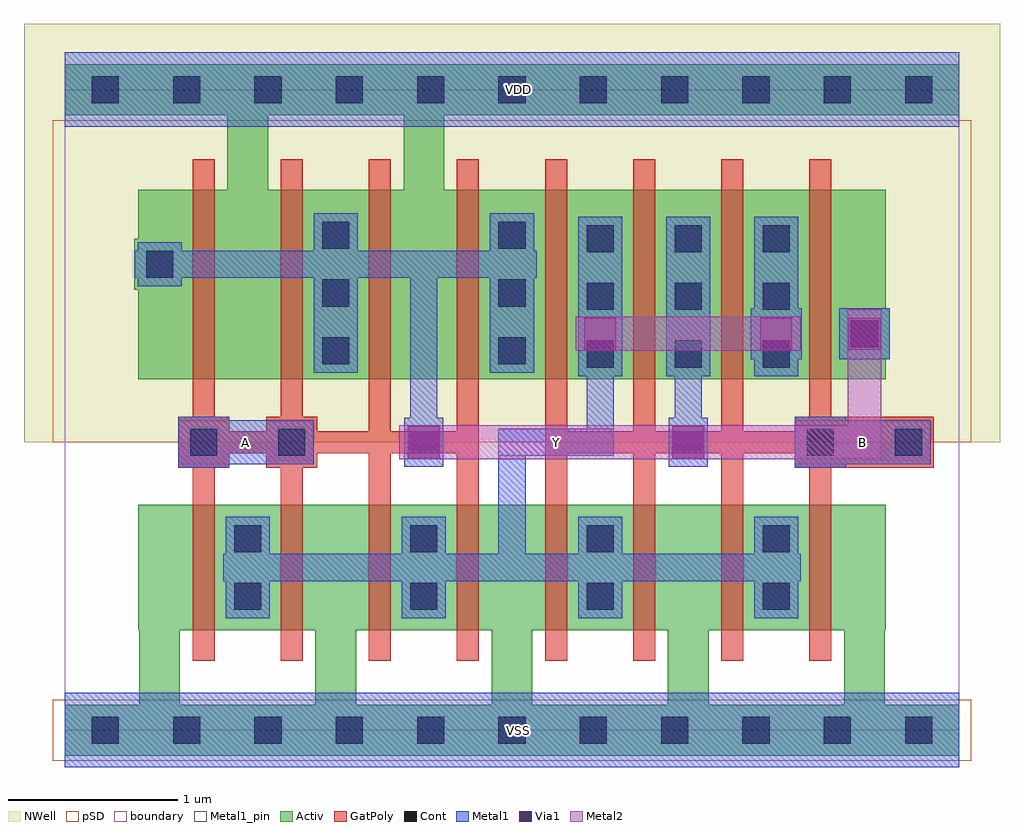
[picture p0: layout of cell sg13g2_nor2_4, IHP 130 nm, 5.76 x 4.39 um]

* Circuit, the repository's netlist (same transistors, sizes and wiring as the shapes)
.SUBCKT sg13g2_nor2_4 Y A B VDD VSS
*.PININFO A:I B:I Y:O VDD:B VSS:B
MN0 Y A VSS VSS sg13_lv_nmos w=2.96u l=130.00n ng=4
MN1 Y B VSS VSS sg13_lv_nmos w=2.96u l=130.00n ng=4
MP0 net1 A VDD VDD sg13_lv_pmos w=4.48u l=130.00n ng=4
MP1 Y B net1 VDD sg13_lv_pmos w=4.48u l=130.00n ng=4
.ENDS

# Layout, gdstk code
import gdstk
lib = gdstk.Library(unit=1e-6, precision=1e-09)
def R(c, l, rs):  # rectangles x0, y0, x1, y1
    for r in rs: c.add(gdstk.rectangle(r[:2], r[2:], *l))
def A(c, l, x, y, w, h, nx, ny, dx, dy):  # array of equal rectangles
    R(c, l, [(x+i*dx, y+j*dy, x+i*dx+w, y+j*dy+h) for i in range(nx) for j in range(ny)])
def P(c, l, *ps):  # polygons
    for p in ps: c.add(gdstk.Polygon(p, *l))
Activ = (1, 0)
GatPoly = (5, 0)
Cont = (6, 0)
Metal1 = (8, 0)
Metal1_pin = (8, 2)
Metal2 = (10, 0)
pSD = (14, 0)
Via1 = (19, 0)
NWell = (31, 0)
boundary = (189, 4)

sg13g2_nor2_4 = lib.new_cell('sg13g2_nor2_4')
P(sg13g2_nor2_4, Activ, [(0.44,0.15),(0,0.15),(0,-0.15),(5.28,-0.15),(5.28,0.15),(0.44,0.15),(0.68,0.15),(0.68,0.59),(1.48,0.59),(1.48,0.15),(1.72,0.15),(1.72,0.59),(2.52,0.59),(2.52,0.15),(2.76,0.15),(2.76,0.59),(3.56,0.59),(3.56,0.15),(3.8,0.15),(3.8,0.59),(4.6,0.59),(4.6,0.15),(4.84,0.15),(4.84,0.59),(4.845,0.59),(4.845,1.33),(0.435,1.33),(0.435,0.59),(0.44,0.59)],
  [(0.96,3.19),(1.2,3.19),(1.2,3.63),(2,3.63),(2,3.19),(2.24,3.19),(2.24,3.63),(5.28,3.63),(5.28,3.93),(0,3.93),(0,3.63),(0.96,3.63),(0.96,3.19),(0.435,3.19),(0.435,2.9),(0.41,2.9),(0.41,2.6),(0.435,2.6),(0.435,2.07),(4.845,2.07),(4.845,2.19),(4.87,2.19),(4.87,2.49),(4.845,2.49),(4.845,3.19)])
P(sg13g2_nor2_4, GatPoly, [(0.67,1.55),(0.755,1.55),(0.755,0.41),(0.885,0.41),(0.885,1.55),(0.97,1.55),(0.97,1.635),(1.19,1.635),(1.19,1.55),(1.275,1.55),(1.275,0.41),(1.405,0.41),(1.405,1.55),(1.49,1.55),(1.49,1.635),(1.795,1.635),(1.795,0.41),(1.925,0.41),(1.925,1.635),(2.315,1.635),(2.315,0.41),(2.445,0.41),(2.445,3.37),(2.315,3.37),(2.315,1.765),(1.925,1.765),(1.925,3.37),(1.795,3.37),(1.795,1.765),(1.49,1.765),(1.49,1.85),(1.405,1.85),(1.405,3.37),(1.275,3.37),(1.275,1.85),(1.19,1.85),(1.19,1.765),(0.97,1.765),(0.97,1.85),(0.885,1.85),(0.885,3.37),(0.755,3.37),(0.755,1.85),(0.67,1.85)],
  [(2.835,0.41),(2.965,0.41),(2.965,1.635),(3.355,1.635),(3.355,0.41),(3.485,0.41),(3.485,1.635),(3.875,1.635),(3.875,0.41),(4.005,0.41),(4.005,1.635),(4.31,1.635),(4.31,1.55),(4.395,1.55),(4.395,0.41),(4.525,0.41),(4.525,1.55),(5.13,1.55),(5.13,1.85),(4.525,1.85),(4.525,3.37),(4.395,3.37),(4.395,1.85),(4.31,1.85),(4.31,1.765),(4.005,1.765),(4.005,3.37),(3.875,3.37),(3.875,1.765),(3.485,1.765),(3.485,3.37),(3.355,3.37),(3.355,1.765),(2.965,1.765),(2.965,3.37),(2.835,3.37)])
A(sg13g2_nor2_4, Cont, 0.16, -0.08, 0.16, 0.16, 11, 2, 0.48, 3.78)
A(sg13g2_nor2_4, Cont, 1, 0.71, 0.16, 0.16, 4, 2, 1.04, 0.34)
A(sg13g2_nor2_4, Cont, 3.08, 2.14, 0.16, 0.16, 3, 3, 0.52, 0.34)
A(sg13g2_nor2_4, Cont, 1.52, 2.16, 0.16, 0.16, 1, 3, 0, 0.34)
A(sg13g2_nor2_4, Cont, 2.56, 2.16, 0.16, 0.16, 1, 3, 0, 0.34)
R(sg13g2_nor2_4, Cont, [(0.74,1.62,0.9,1.78), (1.26,1.62,1.42,1.78), (4.38,1.62,4.54,1.78), (4.9,1.62,5.06,1.78), (4.64,2.26,4.8,2.42), (0.48,2.67,0.64,2.83)])
R(sg13g2_nor2_4, Metal1, [(0,-0.22,5.28,0.22), (4.57,2.19,4.87,2.49), (0,3.56,5.28,4)])
P(sg13g2_nor2_4, Metal1, [(0.415,2.67),(0.43,2.67),(0.43,2.62),(0.69,2.62),(0.69,2.67),(1.47,2.67),(1.47,2.11),(1.73,2.11),(1.73,2.67),(2.04,2.67),(2.04,1.845),(2.005,1.845),(2.005,1.555),(2.235,1.555),(2.235,1.845),(2.2,1.845),(2.2,2.67),(2.51,2.67),(2.51,2.11),(2.77,2.11),(2.77,2.67),(2.785,2.67),(2.785,2.83),(2.77,2.83),(2.77,3.05),(2.51,3.05),(2.51,2.83),(1.73,2.83),(1.73,3.05),(1.47,3.05),(1.47,2.83),(0.69,2.83),(0.69,2.88),(0.43,2.88),(0.43,2.83),(0.415,2.83)],
  [(0.67,1.55),(0.97,1.55),(0.97,1.57),(1.47,1.57),(1.47,1.83),(0.97,1.83),(0.97,1.85),(0.67,1.85)],
  [(0.935,0.88),(0.95,0.88),(0.95,0.66),(1.21,0.66),(1.21,0.88),(1.99,0.88),(1.99,0.66),(2.25,0.66),(2.25,0.88),(3.03,0.88),(3.03,0.66),(3.29,0.66),(3.29,0.88),(4.07,0.88),(4.07,0.66),(4.33,0.66),(4.33,0.88),(4.345,0.88),(4.345,1.04),(4.33,1.04),(4.33,1.26),(4.07,1.26),(4.07,1.04),(3.29,1.04),(3.29,1.26),(3.03,1.26),(3.03,1.04),(2.72,1.04),(2.72,1.62),(3.24,1.62),(3.24,2.09),(3.29,2.09),(3.29,3.03),(3.03,3.03),(3.03,2.09),(3.08,2.09),(3.08,1.78),(2.56,1.78),(2.56,1.04),(2.25,1.04),(2.25,1.26),(1.99,1.26),(1.99,1.04),(1.21,1.04),(1.21,1.26),(0.95,1.26),(0.95,1.04),(0.935,1.04)],
  [(3.55,2.09),(3.6,2.09),(3.6,1.845),(3.565,1.845),(3.565,1.555),(3.795,1.555),(3.795,1.845),(3.76,1.845),(3.76,2.09),(3.81,2.09),(3.81,3.03),(3.55,3.03)],
  [(4.05,2.19),(4.07,2.19),(4.07,2.09),(4.33,2.09),(4.33,2.19),(4.35,2.19),(4.35,2.49),(4.33,2.49),(4.33,3.03),(4.07,3.03),(4.07,2.49),(4.05,2.49)],
  [(4.31,1.55),(4.61,1.55),(4.61,1.57),(5.11,1.57),(5.11,1.83),(4.61,1.83),(4.61,1.85),(4.31,1.85)])
R(sg13g2_nor2_4, Metal1_pin, [(0,-0.22,5.28,0.22), (0.67,1.57,1.47,1.83), (4.31,1.57,5.11,1.83), (2.56,1.62,3.24,1.78), (0,3.56,5.28,4)])
R(sg13g2_nor2_4, Metal2, [(3.015,2.24,4.345,2.44)])
P(sg13g2_nor2_4, Metal2, [(1.975,1.6),(4.82,1.6),(4.82,2.485),(4.62,2.485),(4.62,1.8),(1.975,1.8)])
R(sg13g2_nor2_4, pSD, [(-0.07,-0.18,5.35,0.18), (-0.07,1.7,5.35,3.6)])
R(sg13g2_nor2_4, Via1, [(2.025,1.605,2.215,1.795), (3.585,1.605,3.775,1.795), (3.065,2.245,3.255,2.435), (4.105,2.245,4.295,2.435), (4.625,2.245,4.815,2.435)])
R(sg13g2_nor2_4, NWell, [(-0.24,1.7,5.52,4.17)])
R(sg13g2_nor2_4, boundary, [(0,0,5.28,3.78)])
sg13g2_nor2_4.add(gdstk.Label('A', (1.07,1.7), layer=8, texttype=25))
sg13g2_nor2_4.add(gdstk.Label('Y', (2.9,1.7), layer=8, texttype=25))
sg13g2_nor2_4.add(gdstk.Label('B', (4.71,1.7), layer=8, texttype=25))
sg13g2_nor2_4.add(gdstk.Label('VSS', (2.68,0), layer=8, texttype=25))
sg13g2_nor2_4.add(gdstk.Label('VDD', (2.68,3.78), layer=8, texttype=25))

lib.write_gds('sg13g2_nor2_4.gds')
